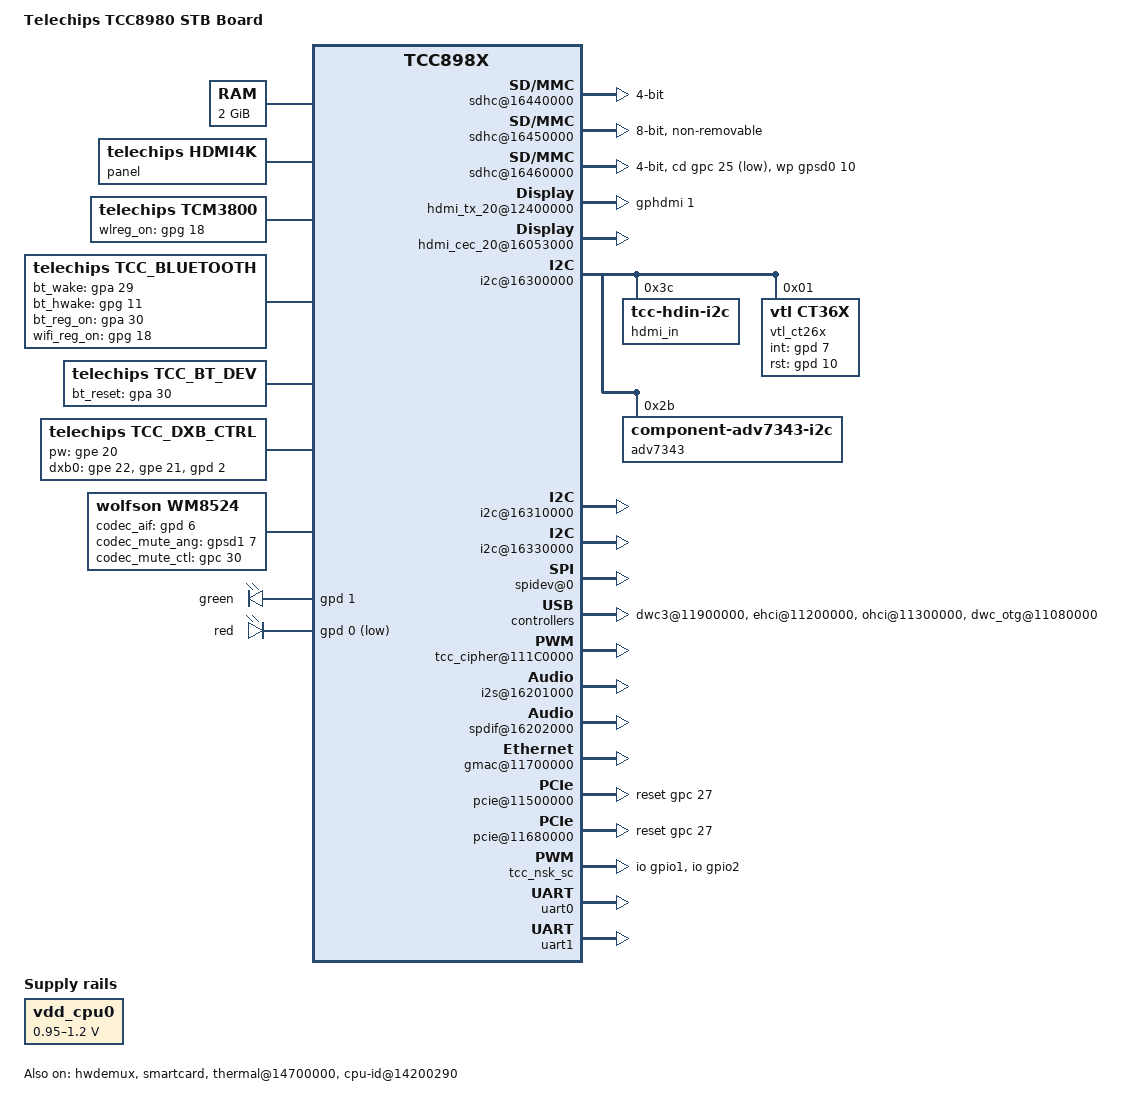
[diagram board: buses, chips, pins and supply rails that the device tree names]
/*
 * Device tree for Telechips TCC8980 STB board
 *
 * Copyright (C) 2016 Telechips Inc. - http://www.telechips.com
 *
 * This file is dual-licensed: you can use it either under the terms
 * of the GPL or the X11 license, at your option. Note that this dual
 * licensing only applies to this file, and not this project as a
 * whole.
 *
 *  a) This file is free software; you can redistribute it and/or
 *     modify it under the terms of the GNU General Public License as
 *     published by the Free Software Foundation; either version 2 of the
 *     License, or (at your option) any later version.
 *
 *     This file is distributed in the hope that it will be useful,
 *     but WITHOUT ANY WARRANTY; without even the implied warranty of
 *     MERCHANTABILITY or FITNESS FOR A PARTICULAR PURPOSE.  See the
 *     GNU General Public License for more details.
 *
 * Or, alternatively,
 *
 *  b) Permission is hereby granted, free of charge, to any person
 *     obtaining a copy of this software and associated documentation
 *     files (the "Software"), to deal in the Software without
 *     restriction, including without limitation the rights to use,
 *     copy, modify, merge, publish, distribute, sublicense, and/or
 *     sell copies of the Software, and to permit persons to whom the
 *     Software is furnished to do so, subject to the following
 *     conditions:
 *
 *     The above copyright notice and this permission notice shall be
 *     included in all copies or substantial portions of the Software.
 *
 *     THE SOFTWARE IS PROVIDED "AS IS", WITHOUT WARRANTY OF ANY KIND,
 *     EXPRESS OR IMPLIED, INCLUDING BUT NOT LIMITED TO THE WARRANTIES
 *     OF MERCHANTABILITY, FITNESS FOR A PARTICULAR PURPOSE AND
 *     NONINFRINGEMENT. IN NO EVENT SHALL THE AUTHORS OR COPYRIGHT
 *     HOLDERS BE LIABLE FOR ANY CLAIM, DAMAGES OR OTHER LIABILITY,
 *     WHETHER IN AN ACTION OF CONTRACT, TORT OR OTHERWISE, ARISING
 *     FROM, OUT OF OR IN CONNECTION WITH THE SOFTWARE OR THE USE OR
 *     OTHER DEALINGS IN THE SOFTWARE.
 */

/dts-v1/;

#include "tcc8980.dtsi"
#include "tcc898x-linux.dtsi"

/ {
	model = "Telechips TCC8980 STB Board";
	compatible = "telechips,tcc8980", "telechips,tcc898x";

	chosen {
	};

	memory@20000000 {
		device_type = "memory";
		reg = <0x20000000 0x80000000>;
	};

	cpu0-regulators {
		compatible = "regulator-gpio";

		regulator-name = "vdd_cpu0";
		regulator-min-microvolt = < 950000>;
		regulator-max-microvolt = <1200000>;
		regulator-type = "voltage";
		regulator-always-on;

		gpios = <&gpd 25 0x4
			 &gpd 24 0x4>;
		gpios-states = <0 1>;

		states = < 950000 0x0
			  1000000 0x1
			  1100000 0x2
			  1200000 0x3
		>;

		startup-delay-us = <100000>;
		enable-active-high;
	};

	panel {
		status = "okay";
		compatible = "telechips,hdmi4k";
	};

	tve@12200000 {
		status = "okay";
	};

	composite {
		status = "okay";
	};

	component {
		status = "okay";
		io_port_num = <0>;
	};

	output_starter {
		status = "okay";
		//persist_display_mode = <3>;
	};

	overlaymixer:overlaymixer@1A100000 {
		status ="okay";
		contiguousSize = <0x1000000>;  /* 16MB (if > 512MB RAM) refer to Guide 27 Page */
		baseAddress = <0x20000000>;
		physSize = <0x80000000>; /*  DRAM size (0x40000000 = 1GB, 0x80000000 = 2GB) */
	};

	fbdisplay: fbdisplay@12000000 {
		telechips,fbdisplay_num = <0>;
		status ="okay";
	};

	tcc_overlay_drv {
		compatible = "telechips,tcc_overlay";
		status = "okay";
		fbdisplay-overlay = <&fbdisplay>;
	};

	tcc_vsync_drv {
		compatible = "telechips,tcc_vsync";
		display-vioc0 = <&vioc_display0>;
		display-vioc1 = <&vioc_display1>;
		status = "okay";
	};

	tcc_video_viqe {
		compatible = "telechips,tcc_viqe";
		status ="okay";
		tcc_viqe_viqe_common {
			board_num=<1>;
		};
	};

	scaler_drv@1 {
		rdmas = <&vioc_rdma16>;
		scalers = <&vioc_sc1 17>;	/* id:1, path:17 */
		wmixs = <&vioc_wmix5 6>;	/* id:5, path:6 */
		wdmas = <&vioc_wdma6>;
		settop_support = <1>;
		status = "okay";
	};

	scaler_drv@3 {
		rdmas = <&vioc_rdma7>;
		scalers = <&vioc_sc3 7>;	/* id:3, path:7 */
		wmixs = <&vioc_wmix1 2>;	/* id:1, path:2 */
		wdmas = <&vioc_wdma1>;
		settop_support = <1>;
		status = "okay";
	};

	wmixer_drv@0 {
		status = "okay";
	};

	wmixer_drv@1 {
		status = "okay";
	};

	vout_drv@0 {
		status = "okay";
	};

	sdhc@16440000 { // Wi-Fi tcm3830
		status = "okay";
		controller-id = <0>;
		bus-width = <4>;
		max-frequency = <200000000>;
		pinctrl-names = "default", "active";
		pinctrl-0 = <&sd0_1_4_idle>;
		pinctrl-1 = <&sd0_1_clk &sd0_1_cmd &sd0_1_bus4>;
		cd-inverted;
		//wp-inverted;
		//non-removable;
		//broken-cd;
		keep-power-in-suspend;
		//enable-sdio-wakeup;
		//cap-power-off-card;
		cap-sdio-irq;
		cap2-no-sleep-cmd;
		cap-bus-width-test;

		//wp-gpios = <&gpb 7 0>;
		//cd-gpios = <&gpext1 5 0>;
		//vctrl-gpio = <&gpsd 10 0>;
		//pwr-gpio = <&gpext2 7 0>;

		//cd-polling;
		wifi-polling;

		/* High-speed SDR */
		cap-sd-highspeed;
		cap-mmc-highspeed;

		/* High-speed DDR(emmc & SD3.0 DDR50) */
		//cap-1-8V-ddr;
		//cap-uhs-ddr50;

		/* emmc hs200 & SD3.0 Common */
		cap-vdd-165-195;

		/* SD3.0 SDR12 */
		//cap-uhs-sdr12;

		/* SD3.0 SDR25 */
		//cap-uhs-sdr25;
		//cap-uhs-driver_type_a;

		/* SD3.0 SDR50 */
		//cap-uhs-sdr50;
		//cap-uhs-driver_type_c;

		/* SD3.0 SDR104 */
		cap-uhs-sdr104;
		cap-uhs-driver_type_d;
		cap-uhs-cmd23;
		cap-adma;

		/* eMMC HS200 */
		//mmc-hs200-1_8v;
		//cap-uhs-driver_type_d;
		//cap-uhs-cmd23;
		//cap-adma;
	};

	tcm3800 {
		compatible = "telechips, tcm3800";
		wlreg_on-gpio = <&gpg 18 0>;
	};

	tcc_bluetooth {
		compatible = "telechips, tcc_bluetooth";
		bt_wake-gpios = <&gpa 29 0>;
		bt_hwake-gpio = <&gpg 11 0>;
		bt_reg_on-gpio = <&gpa 30 0>;
		wifi_reg_on-gpio = <&gpg 18 0>;
		status = "okay";
	};

	tcc_bt_dev {
		compatible = "telechips, tcc_bt_dev";
		bt_reset-gpio = <&gpa 30 0>;
		status = "okay";
	};

	sdhc@16450000 { // eMMC Boot
		status = "okay";
		controller-id = <1>;
		bus-width = <8>;
		max-frequency = <200000000>;
		pinctrl-names = "default", "active";
		pinctrl-0 = <&sd1_1_idle>;
		pinctrl-1 = <&sd1_1_clk &sd1_1_cmd &sd1_1_bus8>;
		//cd-inverted;
		//wp-inverted;
		non-removable;
		//broken-cd;
		//keep-power-in-suspend;
		//enable-sdio-wakeup;
		//cap-power-off-card;
		cap-sdio-irq;
		cap2-no-sleep-cmd;
		cap-bus-width-test;

		//wp-gpios = <&gpb 7 0>;
		//cd-gpios = <&gpext1 5 0>;
		vctrl-gpio = <&gpa 5 0>;
		//pwr-gpio = <&gpext2 7 0>;
		emmc-rst-gpio = <&gpa 6 0>; // To do : add handling code

		cd-polling;
		//wifi-polling;

		/* High-speed SDR */
		cap-sd-highspeed;
		cap-mmc-highspeed;

		/* High-speed DDR(emmc & SD3.0 DDR50) */
		cap-1-8V-ddr;
		cap-uhs-ddr50;

		/* emmc hs200 & SD3.0 Common */
		//cap-vdd-165-195;

		/* SD3.0 SDR12 */
		//cap-uhs-sdr12;

		/* SD3.0 SDR25 */
		//cap-uhs-sdr25;
		//cap-uhs-driver_type_a;

		/* SD3.0 SDR50 */
		//cap-uhs-sdr50;
		//cap-uhs-driver_type_c;

		/* SD3.0 SDR104 */
		//cap-uhs-sdr104;
		//cap-uhs-driver_type_d;
		//cap-uhs-cmd23;
		//cap-adma;

		/* eMMC HS200 */
		//mmc-hs200-1_8v;
		//cap-uhs-driver_type_d;
		//cap-uhs-cmd23;
		//cap-adma;
	};

	sdhc@16460000 { // SD Card
		status = "okay";
		controller-id = <2>;
		bus-width = <4>;
		max-frequency = <200000000>;
		pinctrl-names = "default", "active";
		pinctrl-0 = <&sd2_1_idle>;
		pinctrl-1 = <&sd2_1_clk &sd2_1_cmd &sd2_1_bus8>;
		cd-inverted;
		//wp-inverted;
		//non-removable;
		//broken-cd;
		//keep-power-in-suspend;
		//enable-sdio-wakeup;
		//cap-power-off-card;
		cap-sdio-irq;
		cap2-no-sleep-cmd;
		cap-bus-width-test;

		wp-gpios = <&gpsd0 10 0>;
		cd-gpios = <&gpc 25 0>;
		vctrl-gpio = <&gpd 22 0>;
		//pwr-gpio = <&gpext2 7 0>;

		//cd-polling;
		//wifi-polling;

		/* High-speed SDR */
		cap-sd-highspeed;
		cap-mmc-highspeed;

		/* High-speed DDR(emmc & SD3.0 DDR50) */
		//cap-1-8V-ddr;
		//cap-uhs-ddr50;

		/* emmc hs200 & SD3.0 Common */
		//cap-vdd-165-195;

		/* SD3.0 SDR12 */
		//cap-uhs-sdr12;

		/* SD3.0 SDR25 */
		//cap-uhs-sdr25;
		//cap-uhs-driver_type_a;

		/* SD3.0 SDR50 */
		//cap-uhs-sdr50;
		//cap-uhs-driver_type_c;

		/* SD3.0 SDR104 */
		//cap-uhs-sdr104;
		//cap-uhs-driver_type_d;
		//cap-uhs-cmd23;
		//cap-adma;

		/* eMMC HS200 */
		//mmc-hs200-1_8v;
		//cap-uhs-driver_type_d;
		//cap-uhs-cmd23;
		//cap-adma;
	};

	hdmi_tx_20@12400000 {
		status = "okay";
		pinctrl-names = "default";
		pinctrl-0 = <&hdmi_hpd>;
		hdmi_i2c_mapping = <&i2c3>;
		hdmi_i2c_mapping_val = <0xC 0xF 0x0E>;
		verbose = <0>; // 0 disable, 1 basic, 2 io
		gpios = <&gphdmi 1 0>; // HPD for output starter
		hdmi_phy_type = <0>; // 0 8980, 1 8985_OTT
	};

	hdmi_cec_20@16053000 {
		status = "okay";
		pinctrl-names = "default";
		pinctrl-0 = <&hdmi_cec>;
	};


	tcc_dxb_drv {
		compatible = "telechips,tcc_dxb_drv";
	};

	tcc_dxb_internal {
		compatible = "telechips,tcc_dxb_internal";
		hwdmx_num = <1>;
	};

	tcc_dxb_ctrl {
		compatible = "telechips,tcc_dxb_ctrl";
		pw-gpios   = <&gpe 20 0>;
		dxb0-gpios = <&gpe 22 0>, <&gpe 21>, <&gpd 2 0>, <>;
		dxb1-gpios = <>, <>, <>, <>;
		ant-gpios  = <>, <>;
	};

	/* I2C */

	// Default set
	i2c@16300000 {
		port-mux = <9>;
		status = "okay";
		pinctrl-names = "default";
		pinctrl-0 = <&i2c9_bus>;

		hdmi_in@78 {
			compatible = "tcc-hdin-i2c";
			reg = <0x3C>;
		};

		vtl_ct26x@01 {
			compatible = "vtl,ct36x";
			reg = <0x01>;
			pinctrl-names = "default";
			pinctrl-0 = <&tsc_default>;
			int-gpios = <&gpd 7 0>;
			rst-gpios = <&gpd 10 0>;
			interrupts = <GIC_SPI 0 IRQ_TYPE_LEVEL_HIGH>;
		};

		adv7343@20 {
			compatible = "component-adv7343-i2c";
			reg = <0x2b>;	/* ALSB=1, Write=0x56, Read=0x57 */
		};
	};

	// DXB
	i2c@16310000 {
		port-mux = <8>;
		status = "okay";
		pinctrl-names = "default";
		pinctrl-0 = <&i2c8_bus>;
	};

	/* Not use
	i2c@16320000 {
		port-mux = <18>;
		status = "okay";
		pinctrl-names = "default";
		pinctrl-0 = <&i2c18_bus>;
	};
	*/

	// HDMI
	i2c@16330000 {
		port-mux = <14>;
		status = "okay";
		pinctrl-names = "default";
		pinctrl-0 = <&i2c14_bus>;
	};

	hdmi_in {
		compatible = "telechips-hdin";
		status = "okay";
		pinctrl-names = "default";
		pinctrl-0 = <&hdin_clki &hdin_hsync &hdin_vsync &hdin_data &hdin_de>;
		clocks = <&clk_ddi DDIBUS_VIOC>;
		hdin_port = <&cifport 3 1>;
		hdin_wmixer = <&vioc_wmixer 5>;
		hdin_wdma = <&vioc_wdma 5>;
		hdin_videoin = <&vioc_vin 4 0>;
		hdin_scaler = <&vioc_scaler 0>;
		hdin_config = <&vioc_config 0>;
		hdin_viqe = <&vioc_viqe 0>;

		ep9553t{
			rst-gpios = <&gpe 31 0>;
			pwr-gpios = <&gpf 30 0>;
			key-gpios = <&gpg 15 0>;
			int-gpios = <&gpg 13 1>;
			polarity_hsync = <1>;
			polarity_vsync = <1>;
			field_bfield_low = <0>;
			polarity_data_en = <0>;
			gen_field_en = <1>;
			polarity_pclk = <1>;
			conv_en = <0>;
			hsde_connect_en = <0>;
			vs_mask = <0>;
			input_fmt = <0>;
			data_order = <5>;
			intpl_en = <0>;
			wdma_swap_order = <0>;
		};
	};

	/* H/W Demux */
	hwdemux: cmbus@19000000 {
		compatible = "telechips,hwdemux";
		status = "okay";
	};

	/* GPSB */
	gpsb0@16900000 {
		status = "okay";
		gpsb-port = <3>;
		pinctrl-names = "idle", "active";
		pinctrl-0 = <&gpsb3_bus_idle>;
		pinctrl-1 = <&gpsb3_bus_spi>;

		#address-cells = <1>;
		#size-cells = <0>;
		spidev@0 {
			compatible = "rohm,dh2228fv";
			reg = <0>;
			spi-max-frequency = <2000000>;
		};
	};

	gpsb1@16910000 {
		status = "okay";
		gpsb-port = <5>;
		pinctrl-names = "idle", "active";
		pinctrl-0 = <&gpsb5_bus_idle>;
		pinctrl-1 = <&gpsb5_bus_tsif>;
	};

/*
	gpsb2@16920000 {
		status = "okay";
		gpsb-port = <4>;
		pinctrl-names = "idle", "active";
		pinctrl-0 = <&gpsb4_bus_idle>;
		pinctrl-1 = <&gpsb4_bus_tsif>;
	};
*/

	tcc_ex_tsif {
		compatible = "telechips,tcc89xx-hwdmx-tsif";
		tsif-id = <2>;
		tsif-port = <2>;
		port-mux = <2>;
		pinctrl-names = "idle", "active";
		pinctrl-0 = <&tsrx2_idle>;
		pinctrl-1 = <&tsrx2_active>;
	};

/* TODO : Need to decide port for each gpsb channel
	gpsb3@16930000 {
		status = "okay";
		gpsb-port = <4>;
		pinctrl-names = "default";
		pinctrl-0 = <&gpsb5_bus>;
	};

	gpsb4@16940000 {
		status = "okay";
		gpsb-port = <?>;
		pinctrl-names = "default";
		pinctrl-0 = <&gpsb5_bus>;
	};

	gpsb5@16950000 {
		status = "okay";
		gpsb-port = <?>;
		pinctrl-names = "default";
		pinctrl-0 = <&gpsb5_bus>;
	};
*/

	/* USB 3.0 DRD */
	dwc3@11900000 {
		status = "okay";
		//usb3en-ctrl-able;
		//usb3en-gpio = <&gpc 22 0>;
		//vbus-source-ctrl;
		vbus-ctrl-able;
		vbus-gpio = <&gpc 22 0>;
		//pinctrl-names = "default";
		//vdd_dwc-supply = <&vdd_v5p0_reg>;
	};

	/* USB 2.0 HOST */
	ehci_phy@111A0010 {
		status = "okay";
		vbus-ctrl-able;
		vbus-gpio = <&gpc 20 0>;
	};

	mux_host_phy@111A00DC {
		status = "okay";
		vbus-ctrl-able;
		vbus-gpio = <&gpc 21 0>;
	};

	dwc_otg_phy@111A0100 {
		status = "okay";
		vbus-ctrl-able;
		vbus-gpio = <&gpc 21 0>;
	};

	ehci@11200000 {
		status = "okay";
		hcd_id = <0>;
		phy-type = <1>;	    //pico phy = 1, nano phy = 0
		hosten-ctrl-able;
		hosten-gpio = <&gpe 15 0>;
		vbus-ctrl-able;
		vbus-gpio = <&gpc 20 0>;
		//vbus-source-ctrl;
		//pinctrl-names = "default";
		//vdd_ehci-supply = <&vdd_v5p0_reg>;

		//sq_level_ctl;
		TXVRT = <0xB>;
		TXRISET = <0x3>;
		TXAT = <0x1>;
	};

	ohci@11300000 {
		status = "okay";
		hosten-ctrl-able;
		hosten-gpio = <&gpe 15 0>;
		vbus-ctrl-able;
		vbus-gpio = <&gpc 20 0>;
		//vbus-source-ctrl;
		//vdd_ohci-supply = <&vdd_v5p0_reg>;
	};

	/* USB 2.0 OTG */
	dwc_otg@11080000 {
	    status = "okay";
	    phy-type = <1>;     //pico phy = 1, nano phy = 0

	    vbus-ctrl-able;
	    vbus-gpio = <&gpc 21 0>;
	};

	tcc_cipher@111C0000 {
		status = "okay";
	};

	i2s@16101000 {
		pinctrl-names = "default";
		pinctrl-0 = <&m0dai1_clks &m0dai1_d0>;
		port-mux = <1>;
		status = "disable";
	};

	i2s@16201000 {
		pinctrl-names = "default";
		pinctrl-0 = <&m1dai1_clks &m1dai1_d0>;
		port-mux = <1>;
		status = "okay";
	};

	spdif@16102000 {
		pinctrl-names = "default";
		pinctrl-0 = <&m0dai1_spdif_tx>;
		port-mux = <1>;
		status = "disable";
	};

	spdif@16202000 {
		pinctrl-names = "default";
		pinctrl-0 = <&m1dai1_spdif_tx>;
		port-mux = <1>;
		status = "okay";
	};

	adma@16100000 {
		status = "disable";
	};

	adma@16200000 {
		status = "okay";
	};

	wm8524: wm8524@0 {
		compatible = "wolfson,wm8524";
		status = "okay";

		codec_aif-gpios = <&gpd 6 0>;
		codec_mute_ang-gpios = <&gpsd1 7 0>;
		codec_mute_ctl-gpios = <&gpc 30 0>;
		/* value to enable mute*/
		codec_mute_ang-mute_value = <0>;
	};

	sound@0 {
		compatible = "telechips,snd-card";
		card-name = "TCC8980 STB Card";
		status = "okay";

		telechips,dai-link@0 {
			stream-name="I2S_1";

			codec,format = "i2s"; // i2s, left_j, right_j
			codec,continuous-clock;

			mclk_div = <16>; // 4,6,8,16
			bclk_ratio = <64>; // 32,48,64fs
			pcm = <&adma1>;
			dai = <&i2s1>;
			codec = <&wm8524>;
			codec,dai-name = "wm8524-hifi";
		};

		telechips,dai-link@1 {
			stream-name="SPDIF_1";

			pcm = <&adma1>;
			dai = <&spdif1>;
		};
	};
	remote@16040000 {
		int-gpios = <&gpc 28 0>;
		pinctrl-names = "default";
		pinctrl-0 = <&remote_c28>;
		wakeupsrc = <011>; //RMISEL is 0x3 : GPIO_C28
		status = "okay";
	};

	gmac@11700000 {
		status = "okay";
		phyrst-gpio = <&gpc 9 0>;
		phy-interface = "rgmii";
		ecid-mac-addr;
		txclk-o-dly = <0>;
		txclk-o-dly2 = <6>;
		txclk-o-inv = <0>;
		txclk-i-dly = <0>;
		txclk-i-inv = <0>;
		txen-dly = <0>;
		txer-dly = <0>;
		txd0-dly = <0>;
		txd1-dly = <0>;
		txd2-dly = <0>;
		txd3-dly = <0>;
		txd4-dly = <0>;
		txd5-dly = <0>;
		txd6-dly = <0>;
		txd7-dly = <0>;
		rxclk-i-dly = <0>;
		rxclk-i-inv = <0>;
		rxdv-dly = <0>;
		rxer-dly = <0>;
		rxd0-dly = <0>;
		rxd1-dly = <0>;
		rxd2-dly = <0>;
		rxd3-dly = <0>;
		rxd4-dly = <0>;
		rxd5-dly = <0>;
		rxd6-dly = <0>;
		rxd7-dly = <0>;
		crs-dly = <0>;
		col-dly = <0>;
		pinctrl-names = "default", "mii", "rmii", "gmii", "rgmii";
		pinctrl-0 = <>;
		pinctrl-1 = <&gmac1_mdc &gmac1_mdio &gmac1_col &gmac1_crs &gmac1_txer &gmac1_rxer
					 &gmac1_txclk &gmac1_txen &gmac1_txd0 &gmac1_txd1 &gmac1_txd2 &gmac1_txd3
					 &gmac1_rxclk &gmac1_rxdv &gmac1_rxd0 &gmac1_rxd1 &gmac1_rxd2 &gmac1_rxd3>;
		pinctrl-2 = <&gmac1_mdc &gmac1_mdio
					 &gmac1_txclk &gmac1_txen &gmac1_txd0 &gmac1_txd1
					 &gmac1_rxer &gmac1_rxdv &gmac1_rxd0 &gmac1_rxd1>;
		pinctrl-3 = <&gmac1_mdc &gmac1_mdio &gmac1_col &gmac1_crs &gmac1_txer &gmac1_rxer
					 &gmac1_txclk &gmac1_txen &gmac1_txd0 &gmac1_txd1 &gmac1_txd2 &gmac1_txd3
					 &gmac1_txd4 &gmac1_txd5 &gmac1_txd6 &gmac1_txd7
					 &gmac1_rxclk &gmac1_rxdv &gmac1_rxd0 &gmac1_rxd1 &gmac1_rxd2 &gmac1_rxd3
					 &gmac1_rxd4 &gmac1_rxd5 &gmac1_rxd6 &gmac1_rxd7>;
		pinctrl-4 = <&gmac1_mdc &gmac1_mdio
					 &gmac1_txclk &gmac1_txen &gmac1_txd0 &gmac1_txd1 &gmac1_txd2 &gmac1_txd3
					 &gmac1_rxclk &gmac1_rxdv &gmac1_rxd0 &gmac1_rxd1 &gmac1_rxd2 &gmac1_rxd3>;
	};

	/* evt0/evt1 */
	pcie@11500000 {
		reset-gpio = <&gpc 27 0>;
		status = "okay";
	};

	pcie@11680000 {
		reset-gpio = <&gpc 27 0>;
		status = "okay";
	};

	smartcard {
		compatible = "telechips,pl131-smartcard";
		reg = <0x16661000 0xFFF 0x16684000 0x10>;                //smartcard #6,
		clocks = <&clk_io IOBUS_SMARTCARD6>;
		clock-frequency = <50000000>;
		smartcard-clock = <4000000>;                             // initail value 4Mhz
		Fi = <372>;						 // clock rate conversion integer
		Di = <1>;						 // initail value

		uart_ch = <&uart6>;					 // uart and smartcard share clock
		uart_chnum = <6>;
		port-num = <0>;
		tda8024-use = <1>;
		rst_gpios =  <&gpb 31 0>;
		detect_gpios = <&gpb 28 0>;
		pwren_gpios = <&gpb 30 0>;
		pinctrl-names = "default";
		pinctrl-0 = <&smartcard0_bus>;
		status = "okay";
	};
	thermal@14700000 {
		compatible = "telechips,tcc-thermal";
		reg = <0x14700000 0x4 0x14700030 0x4 0x14200290 0x4 0x1420029C 0x4>;
		clocks = <&clk_isoip_top ISOIP_TOP_TSEN>;
		status = "okay";

		throttle_count = <5>;
		throttle_active_count = <0>;
		throttle_passive_count = <5>;

		cal_type = "TYPE_ONE_POINT_TRIMMING";
		polling-delay-idle = <0>;
		polling-delay-passive = <0>;

		throttle_table {
			throttle_tab_0 {
				temp = <75>;
				freq_max_cluster0 = <1000000>;
				freq_max_cluster1 = <900000>;
			};
			throttle_tab_1 {
				temp = <80>;
				freq_max_cluster0 = <900000>;
				freq_max_cluster1 = <810000>;
			};
			throttle_tab_2 {
				temp = <85>;
				freq_max_cluster0 = <800000>;
				freq_max_cluster1 = <720000>;
			};
			throttle_tab_3 {
				temp = <90>;
				freq_max_cluster0 = <700000>;
				freq_max_cluster1 = <630000>;
			};
			throttle_tab_4 {
				temp = <95>;
				freq_max_cluster0 = <600000>;
				freq_max_cluster1 = <540000>;
			};
		};
	};

	cpu-id@14200290{
		compatible = "telechips,tcc-cpu-id";
		reg = <0x14200290 0x4 0x14200298 0x4 0x1420029C 0x4 0x14400014 0x4>;
		status = "okay";
	};

	run-control {
		compatible = "gpio-leds";
		green {
			gpios = <&gpd 1 0>;
			default-state = "on";
		};
		red {
			gpios = <&gpd 0 1>;
			default-state = "on";
		};
	};

	tcc_nsk_sc: tcc_nsk_sc@16671000 {
		compatible = "telechips,tcc-nsk-sc";

		rst_gpios = <&gpb 31 0>;
		detect_gpios = <&gpb 28 0>;
		pwren_gpios = <&gpb 30 0>;
		vccsel_gpios = <&gpc 31 0>;

		clk_gpios = <&gpa 26 0>;
		data_c7_gpios = <&gpa 25 0>;
		data_c4_gpios = <&gpa 27 0>;
		data_c8_gpios = <&gpa 28 0>;

		tda8024_use = <1>;

		pinctrl-names = "default", "io_data_c4", "io_data_c8";
		pinctrl-0 = <&nsk_sc_ctrl &nsk_sc_io_clk &nsk_sc_io_data0 &nsk_sc_io_gpio1 &nsk_sc_io_gpio2>;
		pinctrl-1 = <&nsk_sc_ctrl &nsk_sc_io_clk &nsk_sc_io_gpio0 &nsk_sc_io_data1 &nsk_sc_io_gpio2>;
		pinctrl-2 = <&nsk_sc_ctrl &nsk_sc_io_clk &nsk_sc_io_gpio0 &nsk_sc_io_gpio1 &nsk_sc_io_data2>;

		status = "okay";
	};
};

&uart0 {
	pinctrl-names = "default";
	pinctrl-0 = <&uart2_data>;
	status = "okay";
};

/* Bluetooth */
&uart1 {
	pinctrl-names = "default";
	pinctrl-0 = <&uart1_data &uart1_rtscts>;
	status = "okay";
};
